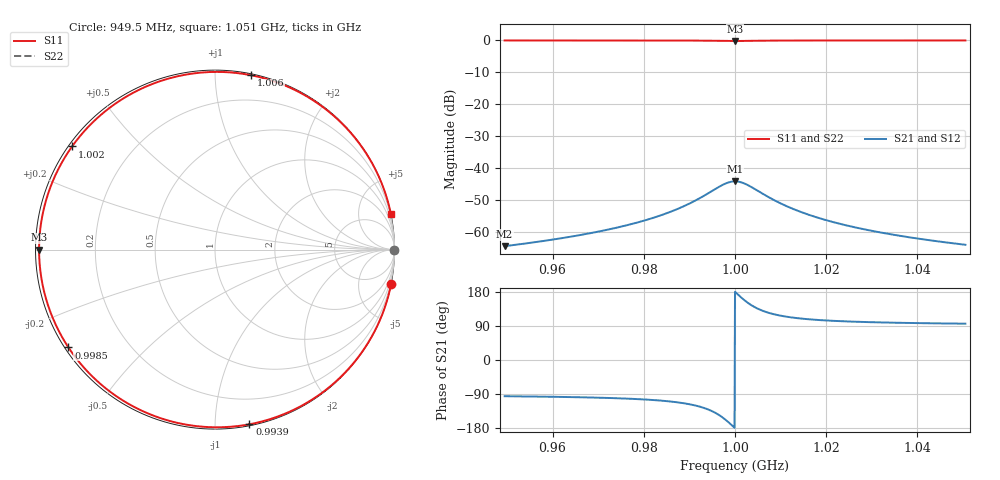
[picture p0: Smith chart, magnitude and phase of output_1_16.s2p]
! File generated for n1 = 1, n2 = 16
! b1 = 100.000000
! b2 = 0.001000
! Q0 = 10000.000000
! f0 = 1000000000.000000
! n = 1001
! rel_span = 10.000000
# Hz S RI R 50
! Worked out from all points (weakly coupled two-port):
!   1001 points, 949.5 MHz to 1.051 GHz, reference 50 ohm
!   highest |S21| = -44.07 dB at 1 GHz (marker M1); lowest = -64.3 dB at 949.5 MHz (marker M2)
!   lowest |S11| = -0.2 dB at 1 GHz (marker M3), VSWR 99.90, Z = 0.501 + j0 ohm
!   |S11| at or under -10 dB: nowhere
!   |S22| runs from 0.0 to 0.0 dB; largest |S21 - S12| = 0
!   S11 on the Smith chart (normalised r, x): 949.5 MHz: 0, -10; 993.9 MHz: 0.01, -1.22; 998.5 MHz: 0.01, -0.30; 1.002 GHz: 0.01, +0.32; 1.006 GHz: 0.01, +1.23; 1.051 GHz: 0.01, +9.86
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9.494995e8  0.9814 -0.1911  -5.89e-05 -0.000604  -5.89e-05 -0.000604  1 -1.91e-06
9.663667e8  0.9578 -0.286  -0.000133 -0.000904  -0.000133 -0.000904  1 -2.86e-06
9.759618e8  0.9182 -0.394  -0.000259 -0.00125  -0.000259 -0.00125  1 -3.94e-06
9.832338e8  0.8378 -0.543  -0.000513 -0.00172  -0.000513 -0.00172  1 -5.43e-06
9.896979e8  0.6196 -0.7801  -0.0012 -0.00247  -0.0012 -0.00247  1 -7.8e-06
9.920209e8  0.4369 -0.8933  -0.00178 -0.00282  -0.00178 -0.00282  1 -8.93e-06
9.939399e8  0.1914 -0.9733  -0.00256 -0.00308  -0.00256 -0.00308  1 -9.73e-06
9.96465e8  -0.3274 -0.9308  -0.0042 -0.00294  -0.0042 -0.00294  1 -9.31e-06
9.97475e8  -0.5833 -0.7927  -0.00501 -0.00251  -0.00501 -0.00251  1 -7.93e-06
9.98485e8  -0.8164 -0.5453  -0.00574 -0.00172  -0.00574 -0.00172  1 -5.45e-06
1e9  -0.9802 0  -0.00626 0  -0.00626 0  1 0
1.000808e9  -0.9308 0.3088  -0.00611 0.000977  -0.00611 0.000977  1 3.09e-06
1.001616e9  -0.7965 0.5744  -0.00568 0.00182  -0.00568 0.00182  1 5.74e-06
1.002525e9  -0.5849 0.7915  -0.00501 0.0025  -0.00501 0.0025  1 7.91e-06
1.003535e9  -0.3305 0.9297  -0.00421 0.00294  -0.00421 0.00294  1 9.3e-06
1.004646e9  -0.0747 0.9865  -0.0034 0.00312  -0.0034 0.00312  1 9.86e-06
1.006161e9  0.2013 0.9714  -0.00253 0.00307  -0.00253 0.00307  1 9.71e-06
1.00808e9  0.4406 0.8915  -0.00177 0.00282  -0.00177 0.00282  1 8.92e-06
1.010403e9  0.6192 0.7804  -0.0012 0.00247  -0.0012 0.00247  1 7.8e-06
1.016867e9  0.8346 0.5479  -0.000523 0.00173  -0.000523 0.00173  1 5.48e-06
1.033734e9  0.9552 0.2945  -0.000142 0.000931  -0.000142 0.000931  1 2.95e-06
1.0505e9  0.9794 0.2008  -6.51e-05 0.000635  -6.51e-05 0.000635  1 2.01e-06
